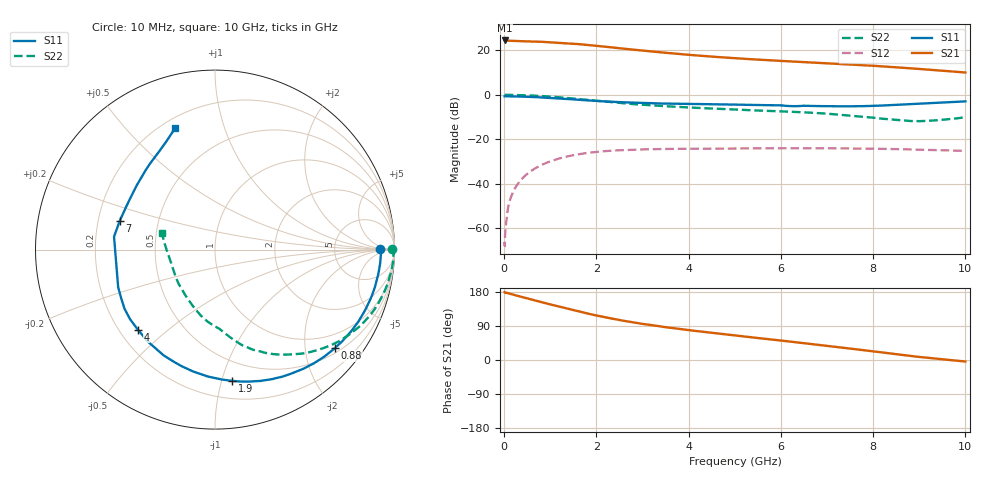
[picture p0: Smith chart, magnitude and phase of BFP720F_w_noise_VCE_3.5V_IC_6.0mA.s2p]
! Infineon Technologies  Discrete & RF Semiconductors
! BFP720F
! VCE =  3.5 V,  IC =  6.0 mA
! Common Emitter S-Parameters:  Jan 2016
# GHz  S  MA  R  50
!  f  S11  S21  S12  S22
! GHz  MAG  ANG  MAG  ANG  MAG  ANG  MAG  ANG
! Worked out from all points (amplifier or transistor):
!   233 points, 10 MHz to 10 GHz, reference 50 ohm
!   highest |S21| = 24.4 dB at 10 MHz (marker M1)
!   |S21| within 3 dB of that: start of sweep to 2.276 GHz
!   unconditionally stable (mu >= 1): start of sweep to 13.1 MHz; 7.468 GHz to end of sweep
!   at 200 MHz: K = 0.07, MSG = 33.8 dB, |S12| = -43.3 dB
!   at 1.74 GHz: K = 0.23, MSG = 24.4 dB, |S12| = -26.3 dB
!   at 10 GHz: K = 1.29, MAG = 14.3 dB, |S12| = -25.2 dB
!   lowest NFmin = 0.45 dB at 450 MHz
!   S11 on the Smith chart (normalised r, x): 10 MHz: 24, +1; 880 MHz: 0.62, -2.67; 1.9 GHz: 0.34, -1.08; 4 GHz: 0.27, -0.40; 7 GHz: 0.29, +0.14; 10 GHz: 0.25, +0.69
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0.01  0.9212 0.1  16.56 179.0  0.0005 -9.4  0.9852 0.3
0.015  0.9235 -0.3  16.41 178.2  0.0004 43.9  0.9911 -0.5
0.02  0.9258 -0.7  16.27 177.3  0.0007 78.8  0.9972 -1.2
0.05  0.9241 -2.2  16.4 177.5  0.0015 79.6  0.9946 -1.4
0.105  0.9234 -4.6  16.35 175.6  0.0037 83.3  0.9951 -2.9
0.22  0.9183 -9.8  16.16 171.6  0.0075 82.4  0.9906 -6.4
0.58  0.895 -25.8  15.68 160.1  0.0194 73.6  0.9629 -16.7
0.88  0.8644 -39.3  15.31 150.4  0.0286 65.5  0.9275 -25.0
1.28  0.8162 -56.7  14.43 138.0  0.0392 55.1  0.8627 -35.9
1.68  0.7638 -74.1  13.51 126.1  0.0473 45.6  0.7887 -45.8
1.9  0.7373 -82.6  12.84 120.1  0.0508 40.8  0.7491 -50.8
2.2  0.7083 -93.2  11.96 112.5  0.0544 34.9  0.699 -56.9
2.6  0.6769 -105.6  10.81 103.3  0.0575 28.1  0.6418 -63.8
3  0.6551 -115.9  9.816 95.3  0.0595 22.9  0.597 -69.2
3.4  0.6372 -123.9  8.95 88.4  0.0606 18.5  0.5616 -73.1
4  0.6194 -134.0  7.884 78.7  0.0616 13.0  0.5183 -77.8
5.1  0.5992 -147.9  6.52 63.4  0.0626 5.7  0.4616 -84.2
6.8  0.5574 166.9  5.214 40.2  0.063 -3.4  0.3873 -99.3
7  0.5542 163.0  5.092 37.2  0.0629 -4.4  0.3769 -101.9
8.4  0.5869 131.3  4.217 16.8  0.0607 -11.1  0.2787 -136.3
9  0.6299 119.5  3.795 8.0  0.0584 -13.1  0.2557 -163.9
10  0.7112 108.4  3.164 -4.0  0.0551 -14.6  0.3121 162.3
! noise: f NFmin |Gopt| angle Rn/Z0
0.45  0.45  0.44  3  0.16
0.9  0.47  0.42  10  0.17
1.8  0.52  0.38  19  0.16
2.4  0.56  0.37  28  0.14
5.5  0.74  0.34  62  0.09
10  0.97  0.25  -105  0.15
